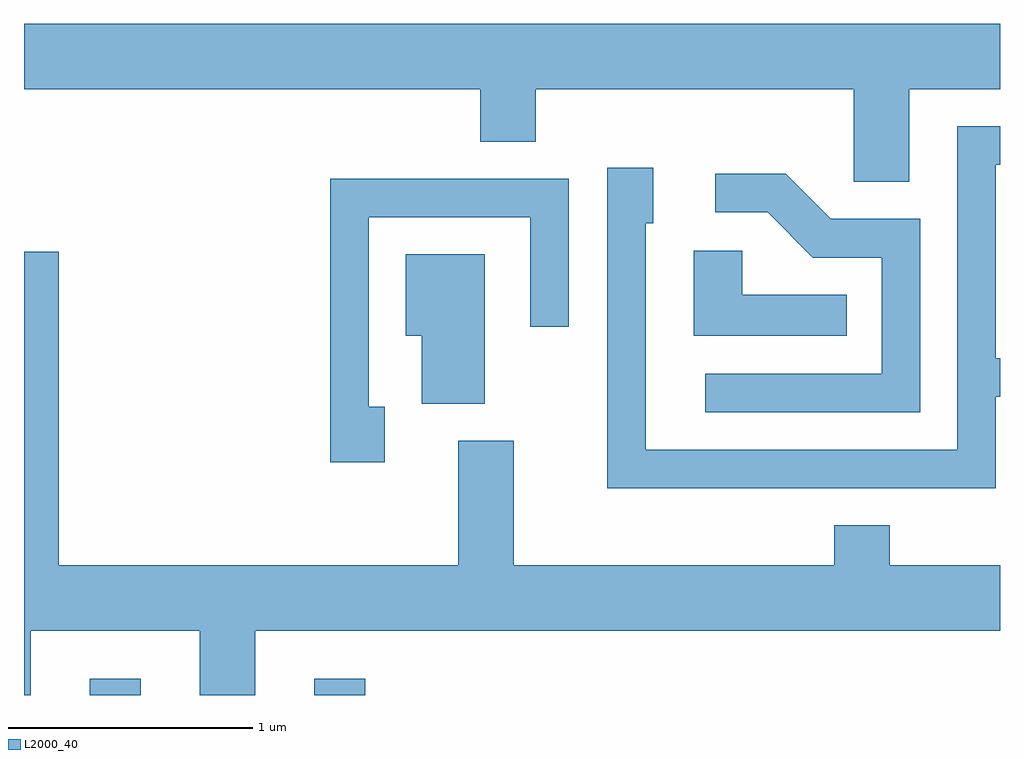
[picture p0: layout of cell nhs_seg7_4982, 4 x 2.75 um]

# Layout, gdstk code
import gdstk
lib = gdstk.Library(unit=1e-6, precision=1e-09)
def R(c, l, rs):  # rectangles x0, y0, x1, y1
    for r in rs: c.add(gdstk.rectangle(r[:2], r[2:], *l))
def P(c, l, *ps):  # polygons
    for p in ps: c.add(gdstk.Polygon(p, *l))
L2000_40 = (2000, 40)

nhs_seg7_4982 = lib.new_cell('nhs_seg7_4982')
R(nhs_seg7_4982, L2000_40, [(337.881,1736.252,338.089,1736.319), (338.801,1736.252,339.009,1736.319)])
P(nhs_seg7_4982, L2000_40, [(341.239,1738.736),(341.611,1738.736),(341.611,1739.004),(337.611,1739.004),(337.611,1738.736),(339.481,1738.736),(339.481,1738.521),(339.709,1738.521),(339.709,1738.736),(341.011,1738.736),(341.011,1738.356),(341.239,1738.356)],
  [(341.594,1737.476),(341.611,1737.476),(341.611,1737.634),(341.594,1737.634),(341.594,1738.426),(341.611,1738.426),(341.611,1738.584),(341.436,1738.584),(341.436,1737.259),(340.159,1737.259),(340.159,1738.186),(340.189,1738.186),(340.189,1738.414),(340.001,1738.414),(340.001,1737.101),(341.594,1737.101)],
  [(341.284,1738.204),(340.917,1738.204),(340.732,1738.389),(340.443,1738.389),(340.443,1738.231),(340.659,1738.231),(340.844,1738.046),(341.126,1738.046),(341.126,1737.569),(340.403,1737.569),(340.403,1737.411),(341.284,1737.411)],
  [(339.089,1737.434),(339.024,1737.434),(339.024,1738.211),(339.686,1738.211),(339.686,1737.763),(339.844,1737.763),(339.844,1738.369),(338.866,1738.369),(338.866,1737.206),(339.089,1737.206)],
  [(340.983,1737.894),(340.554,1737.894),(340.554,1738.074),(340.356,1738.074),(340.356,1737.726),(340.983,1737.726)],
  [(337.639,1736.516),(338.331,1736.516),(338.331,1736.252),(338.559,1736.252),(338.559,1736.516),(341.611,1736.516),(341.611,1736.784),(341.159,1736.784),(341.159,1736.949),(340.931,1736.949),(340.931,1736.784),(339.619,1736.784),(339.619,1737.294),(339.391,1737.294),(339.391,1736.784),(337.754,1736.784),(337.754,1738.069),(337.611,1738.069),(337.611,1736.252),(337.639,1736.252)],
  [(339.499,1738.059),(339.176,1738.059),(339.176,1737.726),(339.241,1737.726),(339.241,1737.446),(339.499,1737.446)])

lib.write_gds('nhs_seg7_4982.gds')
